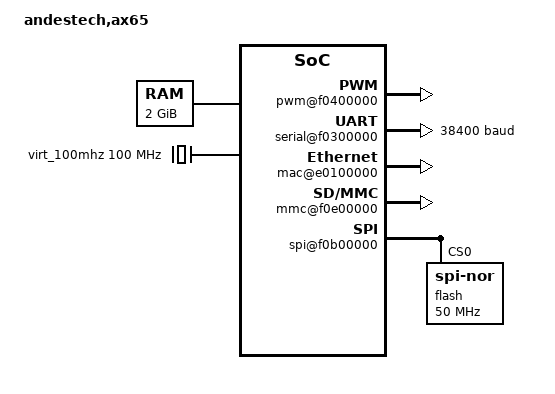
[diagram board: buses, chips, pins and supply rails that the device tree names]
/dts-v1/;

/ {
	#address-cells = <0x02>;
	#size-cells = <0x02>;
	compatible = "andestech,ae350";
	model = "andestech,ax65";

	aliases {
		uart0 = "/soc/serial@f0300000";
		spi0 = "/soc/spi@f0b00000";
	};

	chosen {
		bootargs = "console=ttyS0,38400n8 debug loglevel=7 earlycon=sbi";
		stdout-path = "uart0:38400n8";
		opensbi-domains {
			compatible = "opensbi,domain,config";
			system-suspend-test;

			tmem: tmem {
				compatible = "opensbi,domain,memregion";
				base = <0x00 0x10000000>;
				order = <24>;
			};

			allmem: allmem {
				compatible = "opensbi,domain,memregion";
				base = <0x00 0x00>;
				order = <64>;
			};

			tdomain: trusted-domain {
				compatible = "opensbi,domain,instance";
				possible-harts = <&CPU0>;
				//   (E|SUX|SUW| SUR|MX|MW|MR)
				regions = <&allmem 0x3f>;
				boot-hart = <&CPU0>;
				//next-arg1 = <0x00 0x0187de58>; // dtb : FW_JUMP   : 0x02200000,
							       //       FW_DYNAMIC: use $a1 given by SPL
				next-addr = <0x00 0x10000000>; // tee.bin
				next-mode = <0x01>;
			};

			udomain: untrusted-domain {
				compatible = "opensbi,domain,instance";
				possible-harts = <&CPU0>;
				//   (E|SUX|SUW| SUR|MX|MW|MR)
				regions = <&tmem 0x0 &allmem 0x3f>;
				boot-hart = <&CPU0>;
				next-arg1 = <0x00 0x0187de68>; // dtb : FW_JUMP   : 0x2200000,
							       //       FW_DYNAMIC: 0x0187de58
				next-addr = <0x00 0x01800000>; // u-boot
				next-mode = <0x01>;
			};
		};
	};

	cpus {
		#address-cells = <0x01>;
		#size-cells = <0x00>;
		timebase-frequency = <0x3938700>;

		CPU0: cpu@0 {
			device_type = "cpu";
			reg = <0x00>;
			status = "okay";
			compatible = "riscv";
			opensbi-domain = <&tdomain>;
			//riscv,isa = "rv64imafdc_zba_zbb_zbc_zbkb_zbkc_zbkx_zbs_zicbom_zkn_zknd_zkne_zknh_zks_zksed_zksh_zkt_smepmp_sscofpmf_svinval_svnapot_svpbmt_xandes";
			riscv,isa = "rv64imafdc_zba_zbb_zbc_zbkb_zbkc_zbkx_zbs_zicbom_zkn_zknd_zkne_zknh_zks_zksed_zksh_zkt_sscofpmf_svinval_svnapot_svpbmt_xandes";
			riscv,priv-major = <0x01>;
			riscv,priv-minor = <0x0a>;
			riscv,cbom-block-size = <0x40>;
			mmu-type = "riscv,sv48";
			clock-frequency = <0x3938700>;
			i-cache-size = <0x10000>;
			i-cache-sets = <0x100>;
			i-cache-line-size = <0x40>;
			i-cache-block-size = <0x40>;
			d-cache-size = <0x10000>;
			d-cache-sets = <0x100>;
			d-cache-line-size = <0x40>;
			d-cache-block-size = <0x40>;
			next-level-cache = <&L2>;

			CPU0_intc: interrupt-controller {
				#interrupt-cells = <0x01>;
				interrupt-controller;
				compatible = "andestech,cpu-intc", "riscv,cpu-intc";
			};
		};
	};

	L2: l2-cache@e0500000 {
		compatible = "cache";
		cache-level = <0x02>;
		cache-size = <0x200000>;
		reg = <0x00 0xe0500000 0x00 0x10000>;
		andes,inst-prefetch = <0x03>;
		andes,data-prefetch = <0x03>;
		andes,tag-ram-ctl = <0x00 0x00>;
		andes,data-ram-ctl = <0x00 0x00>;
	};

	memory@0 {
		reg = <0x00 0x00 0x00 0x80000000>;
		device_type = "memory";
	};

	pmu {
		compatible 			= "riscv,pmu";
		riscv,event-to-mhpmevent =
						 <0x1 0x0000 0x10>, /* CPU_CYCLES          -> Cycle count */
						 <0x2 0x0000 0x20>, /* INSTRUCTIONS        -> Retired instruction count */
						 <0x3 0x0000 0x41>, /* CACHE_REFERENCES    -> D-Cache access */
						 <0x4 0x0000 0x51>, /* CACHE_MISSES        -> D-Cache miss */
						 <0x5 0x0000 0x80>, /* BRANCH_INSTRUCTIONS -> Conditional branch instruction count */
						 <0x6 0x0000 0x02>, /* BRANCH_MISSES       -> Misprediction of conditional branches */
						 <0x10000 0x0000 0x61>,  /* L1D_READ_ACCESS  -> D-Cache load access */
						 <0x10001 0x0000 0x71>,  /* L1D_READ_MISS    -> D-Cache load miss */
						 <0x10002 0x0000 0x81>,  /* L1D_WRITE_ACCESS -> D-Cache store access */
						 <0x10003 0x0000 0x91>,  /* L1D_WRITE_MISS   -> D-Cache store miss */
						 <0x10008 0x0000 0x21>,  /* L1I_READ_ACCESS  -> I-Cache access */
						 <0x10009 0x0000 0x31>,  /* L1I_READ_MISS    -> I-Cache miss */
						 <0x10018 0x0000 0x131>, /* DTLB_READ_ACCESS -> Main DTLB access */
						 <0x10020 0x0000 0x111>; /* ITLB_READ_ACCESS -> Main ITLB access */
		riscv,event-to-mhpmcounters = <0x1 0x6 0x78>,
					      <0x10000 0x10003 0x78>,
					      <0x10008 0x10009 0x78>,
					      <0x10018 0x10018 0x78>,
					      <0x10020 0x10020 0x78>;
		riscv,raw-event-to-mhpmcounters =
							<0x0 0x10 0xffffffff 0xffffffff 0x78>, /* Cycle count */
							<0x0 0x20 0xffffffff 0xffffffff 0x78>, /* Retired instruction count */
							<0x0 0x30 0xffffffff 0xffffffff 0x78>, /* Integer load instruction count */
							<0x0 0x40 0xffffffff 0xffffffff 0x78>, /* Integer store instruction count */
							<0x0 0x50 0xffffffff 0xffffffff 0x78>, /* Atomic instruction count */
							<0x0 0x60 0xffffffff 0xffffffff 0x78>, /* System instruction count */
							<0x0 0x70 0xffffffff 0xffffffff 0x78>, /* Integer computational instruction count */
							<0x0 0x80 0xffffffff 0xffffffff 0x78>, /* Conditional branch instruction count */
							<0x0 0x90 0xffffffff 0xffffffff 0x78>, /* Taken conditional branch instruction count */
							<0x0 0xA0 0xffffffff 0xffffffff 0x78>, /* JAL instruction count */
							<0x0 0xB0 0xffffffff 0xffffffff 0x78>, /* JALR instruction count */
							<0x0 0xC0 0xffffffff 0xffffffff 0x78>, /* Return instruction count */
							<0x0 0xD0 0xffffffff 0xffffffff 0x78>, /* Control transfer instruction count */
							<0x0 0xE0 0xffffffff 0xffffffff 0x78>, /* EXEC.IT instruction count */
							<0x0 0xF0 0xffffffff 0xffffffff 0x78>, /* Integer multiplication instruction count */
							<0x0 0x100 0xffffffff 0xffffffff 0x78>, /* Integer division instruction count */
							<0x0 0x110 0xffffffff 0xffffffff 0x78>, /* Floating-point load instruction count */
							<0x0 0x120 0xffffffff 0xffffffff 0x78>, /* Floating-point store instruction count */
							<0x0 0x130 0xffffffff 0xffffffff 0x78>, /* Floating-point addition/subtraction instruction count */
							<0x0 0x140 0xffffffff 0xffffffff 0x78>, /* Floating-point multiplication instruction count */
							<0x0 0x150 0xffffffff 0xffffffff 0x78>, /* Floating-point fused multiply-add instruction count */
							<0x0 0x160 0xffffffff 0xffffffff 0x78>, /* Floating-point division or square-root instruction count */
							<0x0 0x170 0xffffffff 0xffffffff 0x78>, /* Other floating-point instruction count */
							<0x0 0x180 0xffffffff 0xffffffff 0x78>, /* Integer multiplication and add/sub instruction count */
							<0x0 0x190 0xffffffff 0xffffffff 0x78>, /* Retired operation count */
							<0x0 0x01 0xffffffff 0xffffffff 0x78>, /* ILM access */
							<0x0 0x11 0xffffffff 0xffffffff 0x78>, /* DLM access */
							<0x0 0x21 0xffffffff 0xffffffff 0x78>, /* I-Cache access */
							<0x0 0x31 0xffffffff 0xffffffff 0x78>, /* I-Cache miss */
							<0x0 0x41 0xffffffff 0xffffffff 0x78>, /* D-Cache access */
							<0x0 0x51 0xffffffff 0xffffffff 0x78>, /* D-Cache miss */
							<0x0 0x61 0xffffffff 0xffffffff 0x78>, /* D-Cache load access */
							<0x0 0x71 0xffffffff 0xffffffff 0x78>, /* D-Cache load miss */
							<0x0 0x81 0xffffffff 0xffffffff 0x78>, /* D-Cache store access */
							<0x0 0x91 0xffffffff 0xffffffff 0x78>, /* D-Cache store miss */
							<0x0 0xA1 0xffffffff 0xffffffff 0x78>, /* D-Cache writeback */
							<0x0 0xB1 0xffffffff 0xffffffff 0x78>, /* Cycles waiting for I-Cache fill data */
							<0x0 0xC1 0xffffffff 0xffffffff 0x78>, /* Cycles waiting for D-Cache fill data */
							<0x0 0xD1 0xffffffff 0xffffffff 0x78>, /* Uncached fetch data access from bus */
							<0x0 0xE1 0xffffffff 0xffffffff 0x78>, /* Uncached load data access from bus */
							<0x0 0xF1 0xffffffff 0xffffffff 0x78>, /* Cycles waiting for uncached fetch data from bus */
							<0x0 0x101 0xffffffff 0xffffffff 0x78>, /* Cycles waiting for uncached load data from bus */
							<0x0 0x111 0xffffffff 0xffffffff 0x78>, /* Main ITLB access */
							<0x0 0x121 0xffffffff 0xffffffff 0x78>, /* Main ITLB miss */
							<0x0 0x131 0xffffffff 0xffffffff 0x78>, /* Main DTLB access */
							<0x0 0x141 0xffffffff 0xffffffff 0x78>, /* Main DTLB miss */
							<0x0 0x151 0xffffffff 0xffffffff 0x78>, /* Cycles waiting for Main ITLB fill data */
							<0x0 0x161 0xffffffff 0xffffffff 0x78>, /* Pipeline stall cycles caused by Main DTLB miss */
							<0x0 0x171 0xffffffff 0xffffffff 0x78>, /* Hardware prefetch bus access */
							<0x0 0x181 0xffffffff 0xffffffff 0x78>, /* Cycles waiting for source operand ready in the integer register file scoreboard */
							<0x0 0x02 0xffffffff 0xffffffff 0x78>, /* Misprediction of conditional branches */
							<0x0 0x12 0xffffffff 0xffffffff 0x78>, /* Misprediction of taken conditional branches */
							<0x0 0x22 0xffffffff 0xffffffff 0x78>; /* Misprediction of targets of Return instructions */
	};

	soc {
		#address-cells = <0x02>;
		#size-cells = <0x02>;
		compatible = "andestech,riscv-ae350-soc\0simple-bus";
		ranges;
		sbi-rpxy-tee {
			opensbi-rpxy-tee-name = "linaro,optee";
			opensbi-domain-instance = <&tdomain>;
			compatible = "riscv,sbi-rpxy-tee";
		};
		interrupt-controller@e4000000 {
			compatible = "riscv,plic0";
			reg = <0x00 0xe4000000 0x00 0x2000000>;
			interrupts-extended = <&CPU0_intc 0x0b &CPU0_intc 0x09>;
			interrupt-controller;
			#address-cells = <0x02>;
			#interrupt-cells = <0x02>;
			riscv,ndev = <0x47>;
			phandle = <0x03>;
		};

		interrupt-controller@e6400000 {
			compatible = "andestech,plicsw";
			reg = <0x00 0xe6400000 0x00 0x400000>;
			interrupts-extended = <&CPU0_intc 0x03>;
			interrupt-controller;
			#address-cells = <0x02>;
			#interrupt-cells = <0x02>;
			riscv,ndev = <0x01>;
		};

		plmt0@e6000000 {
			compatible = "andestech,plmt0";
			reg = <0x00 0xe6000000 0x00 0x100000>;
			interrupts-extended = <&CPU0_intc 0x07>;
		};

		virt_100mhz {
			compatible = "fixed-clock";
			#clock-cells = <0x00>;
			clock-frequency = <0x5f5e100>;
			phandle = <0x05>;
		};

		timer@f0400000 {
			compatible = "andestech,atcpit100";
			reg = <0x00 0xf0400000 0x00 0x1000>;
			interrupts = <0x03 0x04>;
			interrupt-parent = <0x03>;
			clock-frequency = <0x3938700>;
		};

		pwm@f0400000 {
			compatible = "andestech,atcpit100-pwm";
			reg = <0x00 0xf0400000 0x00 0x1000>;
			interrupts = <0x03 0x04>;
			interrupt-parent = <0x03>;
			clock-frequency = <0x3938700>;
			pwm-cells = <0x02>;
		};

		wdt@f0500000 {
			compatible = "andestech,atcwdt200";
			reg = <0x00 0xf0500000 0x00 0x1000>;
			interrupts = <0x03 0x04>;
			interrupt-parent = <0x03>;
			clock-frequency = <0x3938700>;
		};

		serial@f0300000 {
			compatible = "andestech,uart16550\0ns16550a";
			reg = <0x00 0xf0300000 0x00 0x1000>;
			interrupts = <0x09 0x04>;
			interrupt-parent = <0x03>;
			clock-frequency = <0x12c0000>;
			current-speed = <0x9600>;
			reg-shift = <0x02>;
			reg-offset = <0x20>;
			reg-io-width = <0x04>;
			no-loopback-test = <0x01>;
		};

		rtc@f0600000 {
			compatible = "andestech,atcrtc100";
			reg = <0x00 0xf0600000 0x00 0x1000>;
			interrupts = <0x01 0x04 0x02 0x04>;
			interrupt-parent = <0x03>;
			wakeup-source;
		};

		gpio@f0700000 {
			compatible = "andestech,atcgpio100";
			reg = <0x00 0xf0700000 0x00 0x1000>;
			interrupts = <0x07 0x04>;
			interrupt-parent = <0x03>;
			wakeup-source;
		};

		mac@e0100000 {
			compatible = "andestech,atmac100";
			reg = <0x00 0xe0100000 0x00 0x1000>;
			interrupts = <0x13 0x04>;
			interrupt-parent = <0x03>;
		};

		mmc@f0e00000 {
			compatible = "andestech,atfsdc010g";
			reg = <0x00 0xf0e00000 0x00 0x1000>;
			interrupts = <0x12 0x04>;
			interrupt-parent = <0x03>;
			clock-freq-min-max = <0x61a80 0x5f5e100>;
			max-frequency = <0x5f5e100>;
			fifo-depth = <0x10>;
			dmas = <0x04 0x09>;
			dma-names = "rxtx";
		};

		dma@f0c00000 {
			compatible = "andestech,atcdmac300g";
			reg = <0x00 0xf0c00000 0x00 0x1000>;
			interrupts = <0x0a 0x04>;
			interrupt-parent = <0x03>;
			dma-channels = <0x08>;
			#dma-cells = <0x01>;
			phandle = <0x04>;
		};

////		pmu {
////			compatible = "riscv,andes-pmu";
////			device_type = "pmu";
////		};

		spi@f0b00000 {
			compatible = "andestech,atcspi200";
			reg = <0x00 0xf0b00000 0x00 0x1000>;
			interrupts = <0x04 0x04>;
			interrupt-parent = <0x03>;
			#address-cells = <0x01>;
			#size-cells = <0x00>;
			num-cs = <0x01>;
			clocks = <0x05>;

			flash@0 {
				compatible = "jedec,spi-nor";
				reg = <0x00>;
				spi-max-frequency = <0x2faf080>;
				spi-cpol;
				spi-cpha;
			};
		};

		es100@f0900000 {
			compatible = "andestech,es100";
			reg = <0x00 0xf0900000 0x00 0x1000>;
		};
	};
};
